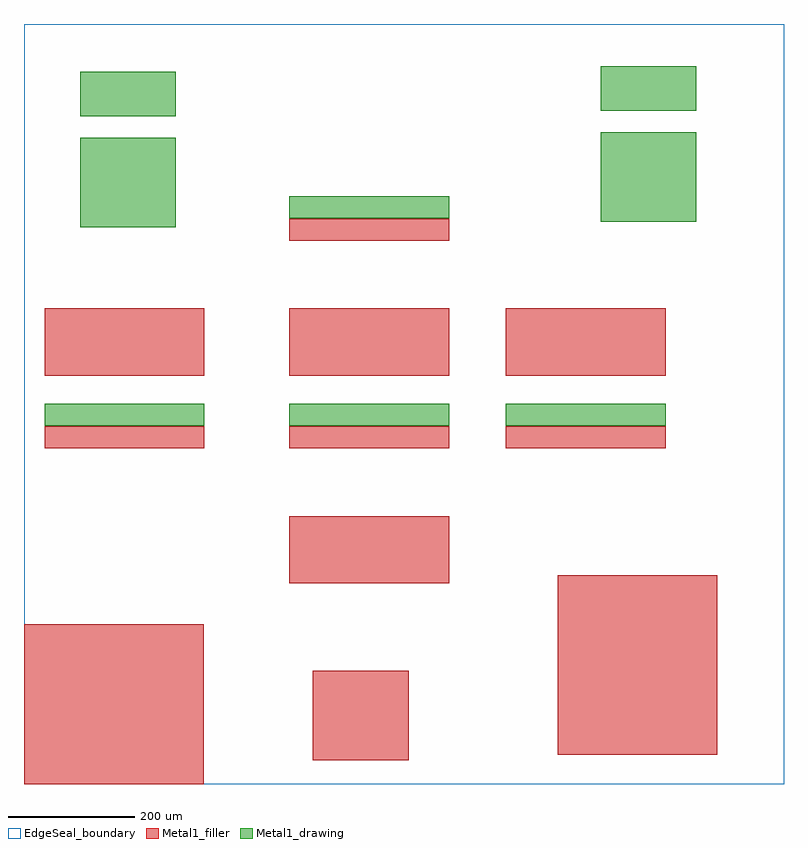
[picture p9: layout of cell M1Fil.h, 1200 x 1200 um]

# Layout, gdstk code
import gdstk
lib = gdstk.Library(unit=1e-6, precision=1e-09)
def R(c, l, rs):  # rectangles x0, y0, x1, y1
    for r in rs: c.add(gdstk.rectangle(r[:2], r[2:], *l))
def A(c, l, x, y, w, h, nx, ny, dx, dy):  # array of equal rectangles
    R(c, l, [(x+i*dx, y+j*dy, x+i*dx+w, y+j*dy+h) for i in range(nx) for j in range(ny)])
Metal1_drawing = (8, 0)
Metal1_filler = (8, 22)
EdgeSeal_boundary = (39, 4)

m1fil_h = lib.new_cell('M1Fil.h')
A(m1fil_h, Metal1_drawing, 32.975, 565.64, 50, 35, 5, 1, 50.5, 0)
A(m1fil_h, Metal1_drawing, 419.065, 565.64, 50, 35, 5, 2, 50.5, 327.725)
A(m1fil_h, Metal1_drawing, 760.905, 565.64, 50, 35, 5, 1, 50.5, 0)
A(m1fil_h, Metal1_drawing, 88.995, 879.115, 50, 35, 3, 4, 50.5, 35.5)
A(m1fil_h, Metal1_drawing, 910.625, 887.55, 50, 35, 3, 4, 50.5, 35.5)
A(m1fil_h, Metal1_drawing, 88.995, 1054.34, 50, 35, 3, 2, 50.5, 35.5)
A(m1fil_h, Metal1_drawing, 910.625, 1062.775, 50, 35, 3, 2, 50.5, 35.5)
A(m1fil_h, Metal1_filler, 0, 0, 35, 50, 8, 5, 35.5, 50.5)
A(m1fil_h, Metal1_filler, 456.17, 37.335, 50, 35, 3, 4, 50.5, 35.5)
A(m1fil_h, Metal1_filler, 842.445, 46.18, 50, 35, 5, 8, 50.5, 35.5)
A(m1fil_h, Metal1_filler, 419.065, 317.14, 50, 35, 5, 3, 50.5, 35.5)
A(m1fil_h, Metal1_filler, 32.975, 530.14, 50, 35, 5, 2, 50.5, 114.725)
A(m1fil_h, Metal1_filler, 419.065, 530.14, 50, 35, 5, 2, 50.5, 114.725)
A(m1fil_h, Metal1_filler, 760.905, 530.14, 50, 35, 5, 2, 50.5, 114.725)
A(m1fil_h, Metal1_filler, 32.975, 680.365, 50, 35, 5, 2, 50.5, 35.5)
A(m1fil_h, Metal1_filler, 419.065, 680.365, 50, 35, 5, 2, 50.5, 35.5)
A(m1fil_h, Metal1_filler, 760.905, 680.365, 50, 35, 5, 2, 50.5, 35.5)
A(m1fil_h, Metal1_filler, 419.065, 857.865, 50, 35, 5, 1, 50.5, 0)
R(m1fil_h, EdgeSeal_boundary, [(0,0,1200,1200)])

lib.write_gds('M1Fil.h.gds')
